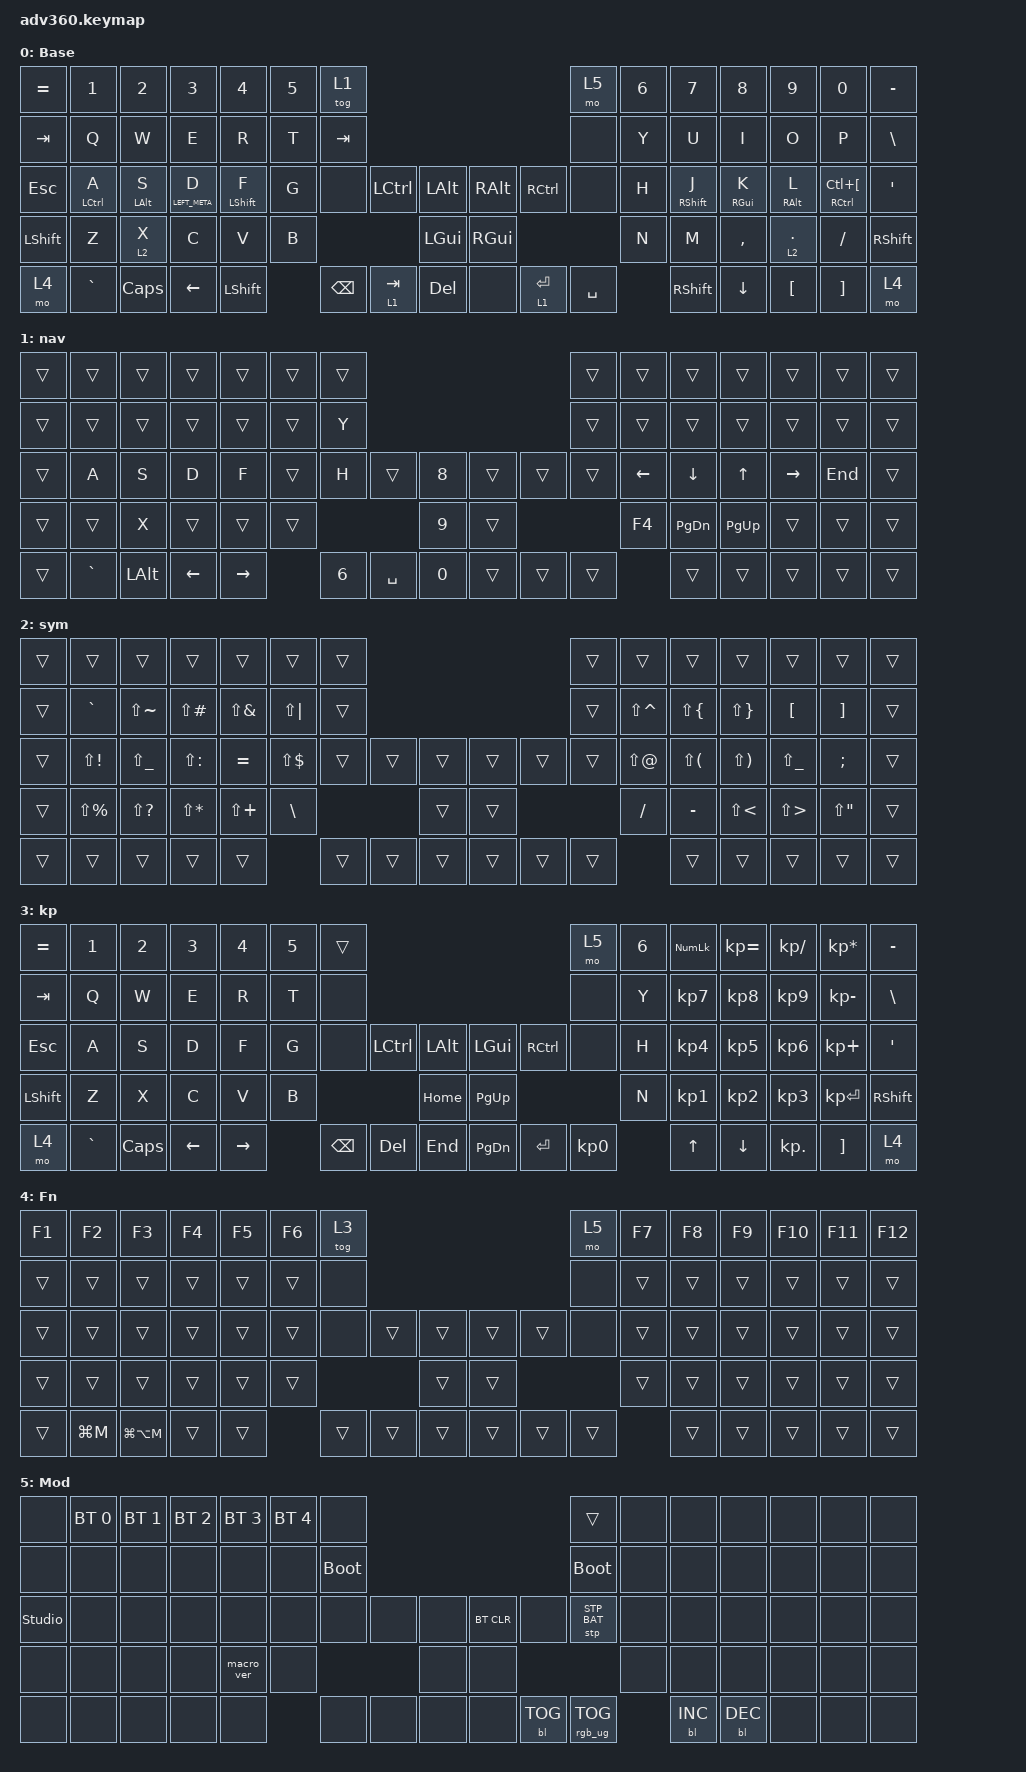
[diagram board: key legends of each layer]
#include <dt-bindings/zmk/stp.h>
#include <behaviors.dtsi>
#include <dt-bindings/zmk/backlight.h>
#include <dt-bindings/zmk/bt.h>
#include <dt-bindings/zmk/keys.h>
#include <dt-bindings/zmk/rgb.h>

/ {
    behaviors {
        #include "macros.dtsi"
      #include "version.dtsi"

        hm: left_homerow_mods {
            compatible = "zmk,behavior-hold-tap";
            label = "LEFT_HOMEROW_MODS";
            #binding-cells = <2>;
            tapping-term-ms = <200>;
            flavor = "tap-preferred";
            bindings = <&kp>, <&kp>;
        };

        mom_tap: mom_tap {
            compatible = "zmk,behavior-hold-tap";
            label = "MOM_TAP";
            #binding-cells = <2>;
            tapping-term-ms = <200>;
            flavor = "tap-preferred";
            bindings = <&mo>, <&kp>;
        };
    };

    keymap {
        compatible = "zmk,keymap";

        default_layer {
            display-name = "Base";
            bindings = <
&kp EQUAL  &kp N1       &kp N2          &kp N3           &kp N4            &kp N5  &tog 1                                                                        &mo 5      &kp N6  &kp N7             &kp N8           &kp N9             &kp N0                      &kp MINUS
&kp TAB    &kp Q        &kp W           &kp E            &kp R             &kp T   &kp TAB                                                                       &none      &kp Y   &kp U              &kp I            &kp O              &kp P                       &kp BSLH
&kp ESC    &hm LCTRL A  &hm LEFT_ALT S  &hm LEFT_META D  &hm LEFT_SHIFT F  &kp G   &none     &kp LCTRL       &kp LALT          &kp RIGHT_ALT  &kp RCTRL          &none      &kp H   &hm RIGHT_SHIFT J  &hm RIGHT_GUI K  &hm RIGHT_ALT L    &hm RCTRL LC(LEFT_BRACKET)  &kp SQT
&kp LSHFT  &kp Z        &mom_tap 2 X    &kp C            &kp V             &kp B                             &kp LEFT_GUI      &kp RIGHT_GUI                                &kp N   &kp M              &kp COMMA        &mom_tap 2 PERIOD  &kp FSLH                    &kp RSHFT
&mo 4      &kp GRAVE    &kp CAPS        &kp LEFT         &kp LSHIFT                &kp BSPC  &mom_tap 1 TAB  &kp DEL           &none          &mom_tap 1 RETURN  &kp SPACE          &kp RSHIFT         &kp DOWN         &kp LBKT           &kp RBKT                    &mo 4
            >;
        };

        navigation {
            bindings = <
&trans  &trans     &trans        &trans    &trans     &trans  &trans                                                     &trans  &trans    &trans         &trans        &trans     &trans   &trans
&trans  &trans     &trans        &trans    &trans     &trans  &kp Y                                                      &trans  &trans    &trans         &trans        &trans     &trans   &trans
&trans  &kp A      &kp S         &kp D     &kp F      &trans  &kp H         &trans     &kp NUMBER_8      &trans  &trans  &trans  &kp LEFT  &kp DOWN       &kp UP_ARROW  &kp RIGHT  &kp END  &trans
&trans  &trans     &kp X         &trans    &trans     &trans                           &kp N9            &trans                  &kp F4    &kp PAGE_DOWN  &kp PAGE_UP   &trans     &trans   &trans
&trans  &kp GRAVE  &kp LEFT_ALT  &kp LEFT  &kp RIGHT          &kp NUMBER_6  &kp SPACE  &kp NUMBER_0      &trans  &trans  &trans            &trans         &trans        &trans     &trans   &trans
            >;

            label = "nav";
        };

        symbols {
            bindings = <
&trans  &trans         &trans         &trans         &trans        &trans        &trans                                      &trans  &trans         &trans        &trans        &trans         &trans       &trans
&trans  &kp GRAVE      &kp LS(TILDE)  &kp LS(POUND)  &kp LS(AMPS)  &kp LS(PIPE)  &trans                                      &trans  &kp LS(CARET)  &kp LS(LBRC)  &kp LS(RBRC)  &kp LBKT       &kp RBKT     &trans
&trans  &kp LS(EXCL)   &kp LS(UNDER)  &kp LS(COLON)  &kp EQUAL     &kp LS(DLLR)  &trans  &trans  &trans      &trans  &trans  &trans  &kp LS(AT)     &kp LS(LPAR)  &kp LS(RPAR)  &kp LS(UNDER)  &kp SEMI     &trans
&trans  &kp LS(PRCNT)  &kp LS(QMARK)  &kp LS(STAR)   &kp LS(PLUS)  &kp BSLH                      &trans      &trans                  &kp FSLH       &kp MINUS     &kp LS(LT)    &kp LS(GT)     &kp LS(DQT)  &trans
&trans  &trans         &trans         &trans         &trans                      &trans  &trans  &trans      &trans  &trans  &trans                 &trans        &trans        &trans         &trans       &trans
            >;

            label = "sym";
        };

        keypad {
            display-name = "kp";
            bindings = <
&kp EQUAL  &kp N1     &kp N2    &kp N3    &kp N4     &kp N5  &trans                                                   &mo 5      &kp N6  &kp KP_NUM  &kp KP_EQUAL  &kp KP_DIVIDE  &kp KP_MULTIPLY  &kp MINUS
&kp TAB    &kp Q      &kp W     &kp E     &kp R      &kp T   &none                                                    &none      &kp Y   &kp KP_N7   &kp KP_N8     &kp KP_N9      &kp KP_MINUS     &kp BSLH
&kp ESC    &kp A      &kp S     &kp D     &kp F      &kp G   &none     &kp LCTRL  &kp LALT      &kp LGUI   &kp RCTRL  &none      &kp H   &kp KP_N4   &kp KP_N5     &kp KP_N6      &kp KP_PLUS      &kp SQT
&kp LSHFT  &kp Z      &kp X     &kp C     &kp V      &kp B                        &kp HOME      &kp PG_UP                        &kp N   &kp KP_N1   &kp KP_N2     &kp KP_N3      &kp KP_ENTER     &kp RSHFT
&mo 4      &kp GRAVE  &kp CAPS  &kp LEFT  &kp RIGHT          &kp BSPC  &kp DEL    &kp END       &kp PG_DN  &kp ENTER  &kp KP_N0          &kp UP      &kp DOWN      &kp KP_DOT     &kp RBKT         &mo 4
            >;
        };

        fn {
            display-name = "Fn";
            bindings = <
&kp F1  &kp F2     &kp F3         &kp F4  &kp F5  &kp F6  &tog 3                                      &mo 5   &kp F7  &kp F8  &kp F9  &kp F10  &kp F11  &kp F12
&trans  &trans     &trans         &trans  &trans  &trans  &none                                       &none   &trans  &trans  &trans  &trans   &trans   &trans
&trans  &trans     &trans         &trans  &trans  &trans  &none   &trans  &trans      &trans  &trans  &none   &trans  &trans  &trans  &trans   &trans   &trans
&trans  &trans     &trans         &trans  &trans  &trans                  &trans      &trans                  &trans  &trans  &trans  &trans   &trans   &trans
&trans  &kp LG(M)  &kp LG(LA(M))  &trans  &trans          &trans  &trans  &trans      &trans  &trans  &trans          &trans  &trans  &trans   &trans   &trans
            >;
        };

        mod {
            display-name = "Mod";
            bindings = <
&none           &bt BT_SEL 0  &bt BT_SEL 1  &bt BT_SEL 2  &bt BT_SEL 3  &bt BT_SEL 4  &none                                                  &trans           &none  &none       &none       &none  &none  &none
&none           &none         &none         &none         &none         &none         &bootloader                                            &bootloader      &none  &none       &none       &none  &none  &none
&studio_unlock  &none         &none         &none         &none         &none         &none        &none  &none      &bt BT_CLR  &none       &stp STP_BAT     &none  &none       &none       &none  &none  &none
&none           &none         &none         &none         &macro_ver    &none                             &none      &none                                    &none  &none       &none       &none  &none  &none
&none           &none         &none         &none         &none                       &none        &none  &none      &none       &bl BL_TOG  &rgb_ug RGB_TOG         &bl BL_INC  &bl BL_DEC  &none  &none  &none
            >;
        };

        extra1 {
            display-name = "Red";
            status = "reserved";
        };

        extra2 {
            display-name = "Purple";
            status = "reserved";
        };

        extra3 {
            display-name = "Cyan";
            status = "reserved";
        };

        extra4 {
            display-name = "Yellow";
            status = "reserved";
        };
    };
};
